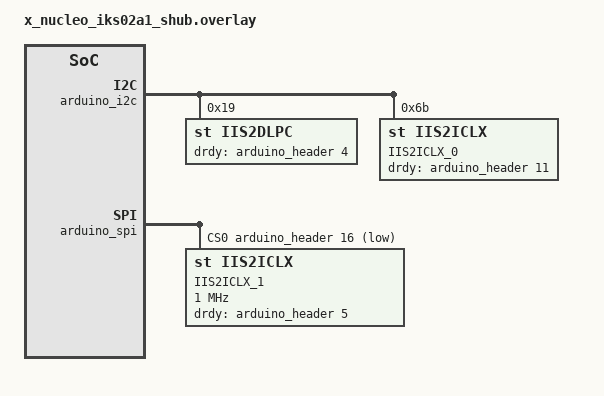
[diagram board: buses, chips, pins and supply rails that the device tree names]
/*
 * Copyright (c) 2020 STMicroelectronics
 *
 * SPDX-License-Identifier: Apache-2.0
 */

/*
 * Mode 2: SensorHub Mode
 *
 *   JP7 => 2-3 (I2C1 = I2Cx)
 *   JP8 => 2-3 (I2C1 = I2Cx)
 *
 * Only ISM330DHCX and IIS2DLPC sensors are accessible from the main board mcu.
 * IIS2MDC is connected directly to ISM330DHCX SCx/SDX (I2Cx) pins, so it is not
 * declared in DTS file.
 */

&arduino_i2c {

	iis2dlpc@19 {
		compatible = "st,iis2dlpc";
		reg = <0x19>;
		drdy-gpios =  <&arduino_header 4 GPIO_ACTIVE_HIGH>; /* A4 - INT2 */
		drdy-int =  <2>;
		label = "IIS2DLPC";
	};

	iis2iclx@6b {
		compatible = "st,iis2iclx";
		reg = <0x6b>;
		drdy-gpios =  <&arduino_header 11 GPIO_ACTIVE_HIGH>; /* D5 - INT2 */
		int-pin = <2>;
		label = "IIS2ICLX_0";
	};

#if 0
	iis2iclx@6a {
		compatible = "st,iis2iclx";
		reg = <0x6a>;
		drdy-gpios =  <&arduino_header 5 GPIO_ACTIVE_HIGH>; /* A5 */
		int-pin = <1>;
		label = "IIS2ICLX_1";
	};
#endif
};

#if 1
&arduino_spi {
	status = "okay";
	cs-gpios = <&arduino_header 16 GPIO_ACTIVE_LOW>;                        /* D10 */

	iis2iclx@0 {
		status = "ok";
		compatible = "st,iis2iclx";
		reg = <0x0>;
		label = "IIS2ICLX_1";
		spi-max-frequency = <1000000>;
		drdy-gpios = <&arduino_header 5 GPIO_ACTIVE_HIGH>;       /* A5 */
		int-pin = <1>;
	};
};
#endif
